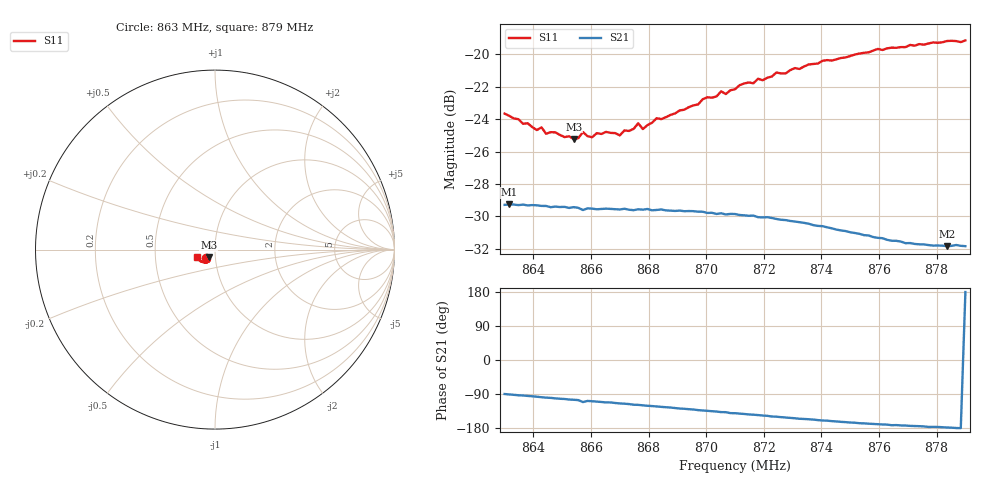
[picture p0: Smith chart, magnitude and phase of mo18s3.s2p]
# HZ S RI R 50
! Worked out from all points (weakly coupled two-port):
!   101 points, 863 MHz to 879 MHz, reference 50 ohm
!   highest |S21| = -29.26 dB at 863.16 MHz (marker M1); lowest = -31.8 dB at 878.36 MHz (marker M2)
!   lowest |S11| = -25.2 dB at 865.4 MHz (marker M3), VSWR 1.12, Z = 46.5 - j3.96 ohm
!   |S11| at or under -10 dB: start of sweep to end of sweep
!   S12 and S22 are empty: the file has one direction only
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8.63e8  -0.0487 -0.044  0.000136 -0.0343  0 0  0 0
8.6316e8  -0.0492 -0.0419  -0.000507 -0.0344  0 0  0 0
8.6412e8  -0.0408 -0.0418  -0.00405 -0.034  0 0  0 0
8.6428e8  -0.0412 -0.043  -0.0049 -0.0337  0 0  0 0
8.6444e8  -0.0396 -0.0408  -0.00549 -0.0336  0 0  0 0
8.654e8  -0.0346 -0.0424  -0.00874 -0.0326  0 0  0 0
8.6572e8  -0.0345 -0.0461  -0.0119 -0.0309  0 0  0 0
8.6604e8  -0.0325 -0.045  -0.0108 -0.0316  0 0  0 0
8.6652e8  -0.0316 -0.0482  -0.0125 -0.031  0 0  0 0
8.67e8  -0.0298 -0.0477  -0.0139 -0.0302  0 0  0 0
8.6764e8  -0.032 -0.0523  -0.0158 -0.0292  0 0  0 0
8.678e8  -0.0286 -0.0514  -0.0164 -0.0288  0 0  0 0
8.6828e8  -0.0301 -0.056  -0.0178 -0.0279  0 0  0 0
8.6844e8  -0.0293 -0.0559  -0.0184 -0.0276  0 0  0 0
8.7052e8  -0.0388 -0.0664  -0.0238 -0.0218  0 0  0 0
8.7068e8  -0.0361 -0.0663  -0.0237 -0.0216  0 0  0 0
8.71e8  -0.039 -0.0676  -0.0248 -0.0205  0 0  0 0
8.7244e8  -0.0515 -0.0713  -0.0268 -0.0157  0 0  0 0
8.7372e8  -0.0593 -0.0722  -0.0274 -0.0115  0 0  0 0
8.7644e8  -0.0849 -0.0616  -0.0263 -0.00367  0 0  0 0
8.7836e8  -0.0997 -0.0466  -0.0256 -0.000833  0 0  0 0
8.79e8  -0.1031 -0.0398  -0.0256 0.000299  0 0  0 0
